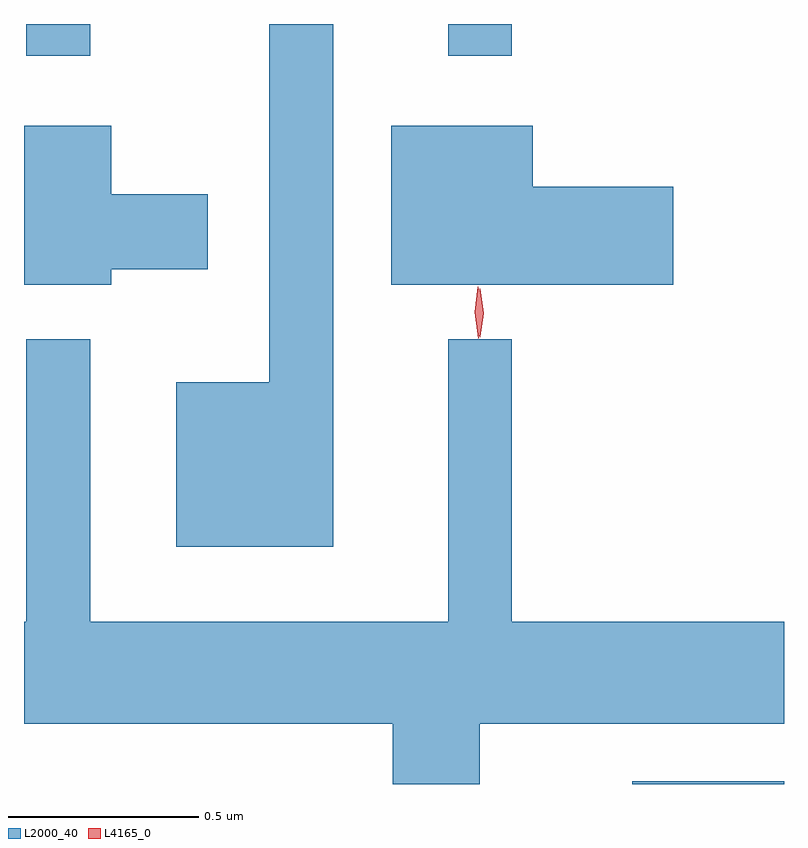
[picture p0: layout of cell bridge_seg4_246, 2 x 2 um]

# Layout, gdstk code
import gdstk
lib = gdstk.Library(unit=1e-6, precision=1e-09)
def R(c, l, rs):  # rectangles x0, y0, x1, y1
    for r in rs: c.add(gdstk.rectangle(r[:2], r[2:], *l))
def P(c, l, *ps):  # polygons
    for p in ps: c.add(gdstk.Polygon(p, *l))
L2000_40 = (2000, 40)
L4165_0 = (4165, 0)

bridge_seg4_246 = lib.new_cell('bridge_seg4_246')
R(bridge_seg4_246, L2000_40, [(731.536,1376.717,731.935,1376.724), (729.941,1378.633,730.109,1378.717), (731.051,1378.633,731.219,1378.717)])
P(bridge_seg4_246, L2000_40, [(730.749,1378.717),(730.581,1378.717),(730.581,1377.774),(730.336,1377.774),(730.336,1377.341),(730.749,1377.341)],
  [(731.644,1378.289),(731.274,1378.289),(731.274,1378.449),(730.901,1378.449),(730.901,1378.031),(731.644,1378.031)],
  [(730.164,1378.071),(730.419,1378.071),(730.419,1378.269),(730.164,1378.269),(730.164,1378.449),(729.935,1378.449),(729.935,1378.031),(730.164,1378.031)],
  [(730.906,1376.717),(731.134,1376.717),(731.134,1376.876),(731.935,1376.876),(731.935,1377.144),(731.219,1377.144),(731.219,1377.888),(731.051,1377.888),(731.051,1377.144),(730.109,1377.144),(730.109,1377.888),(729.941,1377.888),(729.941,1377.144),(729.935,1377.144),(729.935,1376.876),(730.906,1376.876)])
P(bridge_seg4_246, L4165_0, [(731.131,1377.89),(731.131,1377.89),(731.121,1377.958),(731.129,1378.025),(731.13,1378.026),(731.13,1378.025),(731.14,1377.958),(731.132,1377.89)],
  [(731.135,1377.893),(731.134,1377.894),(731.125,1377.956),(731.134,1378.02),(731.134,1378.02),(731.135,1378.02),(731.145,1377.956),(731.135,1377.894)])

lib.write_gds('bridge_seg4_246.gds')
